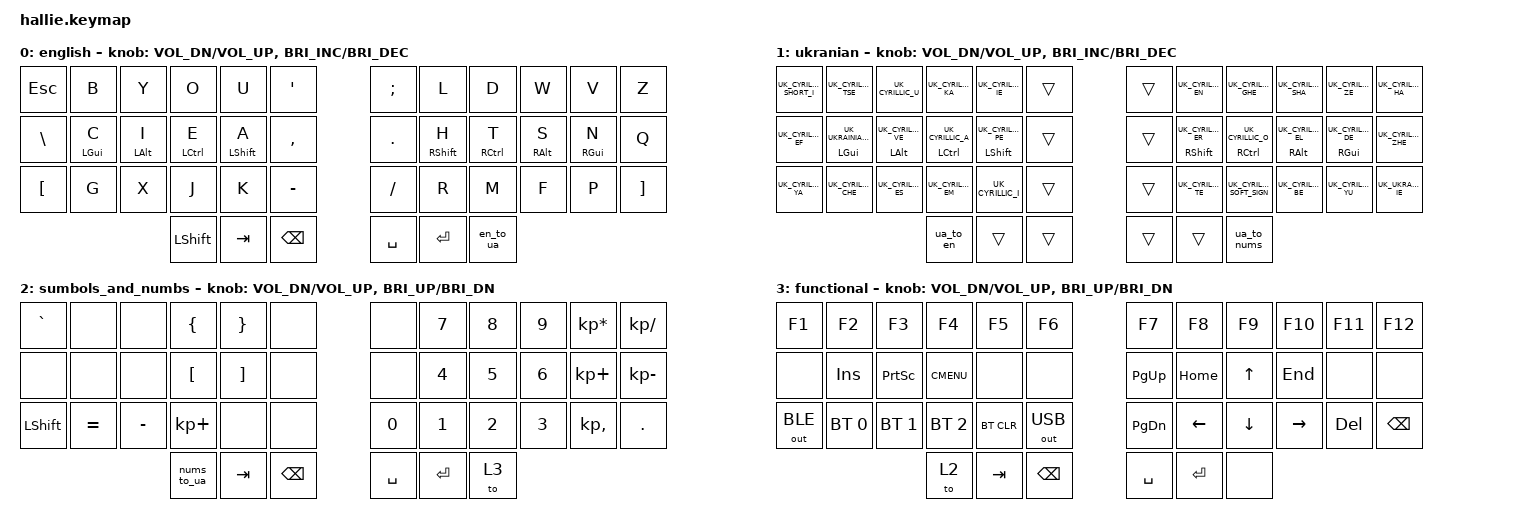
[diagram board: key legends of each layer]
#undef ZMK_BEHAVIORS_KEEP_ALL

#define ZMK_BEHAVIORS_KEEP_IND
#define ZMK_BEHAVIORS_KEEP_BT
#define ZMK_BEHAVIORS_KEEP_GRESC
#define ZMK_BEHAVIORS_KEEP_SYS_RESET
#define ZMK_BEHAVIORS_KEEP_BOOTLOADER
#define ZMK_BEHAVIORS_KEEP_CAPS_WORD
#define ZMK_BEHAVIORS_KEEP_KEY_REPEAT
#define ZMK_BEHAVIORS_KEEP_KT
#define ZMK_BEHAVIORS_KEEP_LT
#define ZMK_BEHAVIORS_KEEP_MT
#define ZMK_BEHAVIORS_KEEP_SK
#define ZMK_BEHAVIORS_KEEP_STICKY_LAYER
#define ZMK_BEHAVIORS_KEEP_TO
#define ZMK_BEHAVIORS_KEEP_TOG
#define ZMK_BEHAVIORS_KEEP_TRANS

#include <dt-bindings/zmk/indicators.h>
#include <behaviors.dtsi>
#include <dt-bindings/zmk/bt.h>
#include <dt-bindings/zmk/keys.h>
#include <dt-bindings/zmk/outputs.h>
#include "keys_uk_enhanced.h"

#define DEF 0
#define LWR 1
#define RSE 2
#define ADJ 3

&lt { quick_tap_ms = <200>; };

&mt {
    tapping-term-ms = <280>;
    quick-tap-ms = <175>;
    require-prior-idle-ms = <150>;
    flavor = "balanced";
    hold-trigger-on-release;
};

/ {
macros {
    en_to_ua: LANG {
        compatible = "zmk,behavior-macro";
        #binding-cells = <0>;
        bindings = <&to 1 &kp CAPS>, <&macro_press>;

        label = "LANG";
    };

    ua_to_en: ua_to_0 {
        compatible = "zmk,behavior-macro";
        #binding-cells = <0>;
        bindings = <&to 0 &kp CAPS>;
        label = "UA_TO_0";
    };

    ua_to_nums: ua_to_nums {
        compatible = "zmk,behavior-macro";
        #binding-cells = <0>;
        bindings = <&to 2 &kp CAPS>;
        label = "UA_TO_NUMS";
    };

    nums_to_ua: nums_to_ua {
        compatible = "zmk,behavior-macro";
        #binding-cells = <0>;
        bindings = <&to 1 &kp CAPS>;
        label = "NUMS_TO_UA";
    };
};

keymap {
    compatible = "zmk,keymap";

    english {
        bindings = <
&kp ESC           &kp B           &kp Y           &kp O               &kp U             &kp SQT          &kp SEMICOLON  &kp L              &kp D                &kp W            &kp V            &kp Z
&kp BACKSLASH     &mt LEFT_GUI C  &mt LEFT_ALT I  &mt LEFT_CONTROL E  &mt LEFT_SHIFT A  &kp COMMA        &kp PERIOD     &mt RIGHT_SHIFT H  &mt RIGHT_CONTROL T  &mt RIGHT_ALT S  &mt RIGHT_GUI N  &kp Q
&kp LEFT_BRACKET  &kp G           &kp X           &kp J               &kp K             &kp MINUS        &kp SLASH      &kp R              &kp M                &kp F            &kp P            &kp RIGHT_BRACKET
                                                  &kp LEFT_SHIFT      &kp TAB           &kp BACKSPACE    &kp SPACE      &kp ENTER          &en_to_ua
        >;

        sensor-bindings =
            <&inc_dec_kp C_VOL_DN C_VOL_UP>,
            <&inc_dec_kp C_BRIGHTNESS_INC C_BRIGHTNESS_DEC>;
    };

    ukranian {
        bindings = <
&kp UK_CYRILLIC_SHORT_I  &kp UK_CYRILLIC_TSE          &kp UK_CYRILLIC_U            &kp UK_CYRILLIC_KA              &kp UK_CYRILLIC_IE             &trans    &trans  &kp UK_CYRILLIC_EN              &kp UK_CYRILLIC_GHE              &kp UK_CYRILLIC_SHA           &kp UK_CYRILLIC_ZE            &kp UK_CYRILLIC_HA
&kp UK_CYRILLIC_EF       &mt LEFT_GUI UK_UKRAINIAN_I  &mt LEFT_ALT UK_CYRILLIC_VE  &mt LEFT_CONTROL UK_CYRILLIC_A  &mt LEFT_SHIFT UK_CYRILLIC_PE  &trans    &trans  &mt RIGHT_SHIFT UK_CYRILLIC_ER  &mt RIGHT_CONTROL UK_CYRILLIC_O  &mt RIGHT_ALT UK_CYRILLIC_EL  &mt RIGHT_GUI UK_CYRILLIC_DE  &kp UK_CYRILLIC_ZHE
&kp UK_CYRILLIC_YA       &kp UK_CYRILLIC_CHE          &kp UK_CYRILLIC_ES           &kp UK_CYRILLIC_EM              &kp UK_CYRILLIC_I              &trans    &trans  &kp UK_CYRILLIC_TE              &kp UK_CYRILLIC_SOFT_SIGN        &kp UK_CYRILLIC_BE            &kp UK_CYRILLIC_YU            &kp UK_UKRAINIAN_IE
                                                                                   &ua_to_en                       &trans                         &trans    &trans  &trans                          &ua_to_nums
        >;

        sensor-bindings =
            <&inc_dec_kp C_VOL_DN C_VOL_UP>,
            <&inc_dec_kp C_BRIGHTNESS_INC C_BRIGHTNESS_DEC>;
    };

    sumbols_and_numbs {
        bindings = <
&kp GRAVE  &none      &none      &kp LEFT_BRACE    &kp RIGHT_BRACE    &none            &none      &kp N7     &kp N8  &kp N9  &kp KP_MULTIPLY  &kp KP_DIVIDE
&none      &none      &none      &kp LEFT_BRACKET  &kp RIGHT_BRACKET  &none            &none      &kp N4     &kp N5  &kp N6  &kp KP_PLUS      &kp KP_MINUS
&kp LSHFT  &kp EQUAL  &kp MINUS  &kp KP_PLUS       &none              &none            &kp N0     &kp N1     &kp N2  &kp N3  &kp KP_COMMA     &kp DOT
                                 &nums_to_ua       &kp TAB            &kp BACKSPACE    &kp SPACE  &kp ENTER  &to 3
        >;

        sensor-bindings =
            <&inc_dec_kp C_VOL_DN C_VOL_UP>,
            <&inc_dec_kp C_BRI_UP C_BRI_DN>;
    };

    functional {
        bindings = <
&kp F1        &kp F2        &kp F3        &kp F4        &kp F5      &kp F6           &kp F7     &kp F8     &kp F9    &kp F10    &kp F11  &kp F12
&none         &kp INS       &kp PSCRN     &kp K_CMENU   &none       &none            &kp PG_UP  &kp HOME   &kp UP    &kp END    &none    &none
&out OUT_BLE  &bt BT_SEL 0  &bt BT_SEL 1  &bt BT_SEL 2  &bt BT_CLR  &out OUT_USB     &kp PG_DN  &kp LEFT   &kp DOWN  &kp RIGHT  &kp DEL  &kp BSPC
                                          &to 2         &kp TAB     &kp BACKSPACE    &kp SPACE  &kp ENTER  &none
        >;

        sensor-bindings =
            <&inc_dec_kp C_VOL_DN C_VOL_UP>,
            <&inc_dec_kp C_BRI_UP C_BRI_DN>;
    };
};

};
